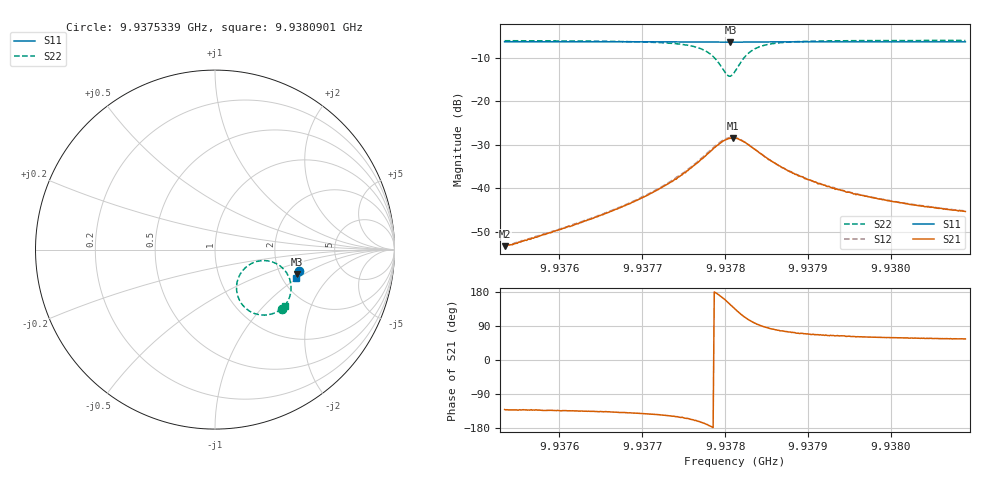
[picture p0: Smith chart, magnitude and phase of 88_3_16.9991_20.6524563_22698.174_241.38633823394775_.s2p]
#  HZ  S  RI  R  50.00
! Rohde & Schwarz Vector Network Analyzer
! Rohde-Schwarz,ZNB20-2Port,1311601062101988,3.16
! Created: UTC 3/20/2024, 10:56:01 PM
! freq[Hz]  re:S11  im:S11  re:S21  im:S21  re:S12  im:S12  re:S22  im:S22
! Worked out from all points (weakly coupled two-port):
!   401 points, 9.9375339 GHz to 9.9380901 GHz, reference 50 ohm
!   highest |S21| = -28.45 dB at 9.9378092 GHz (marker M1); lowest = -53.4 dB at 9.9375339 GHz (marker M2)
!   lowest |S11| = -6.4 dB at 9.9378064 GHz (marker M3), VSWR 2.82, Z = 123 - j43.7 ohm
!   |S11| at or under -10 dB: nowhere
!   |S22| runs from -14.3 to -6.0 dB; largest |S21 - S12| = 0.0021
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9.93753387e9  0.467 -0.1216  -0.0014 -0.00163  -0.00144 -0.0016  0.371 -0.3287
9.93762704e9  0.4646 -0.128  -0.00284 -0.00288  -0.00295 -0.00288  0.3529 -0.3419
9.93768267e9  0.4632 -0.1318  -0.00496 -0.00422  -0.00506 -0.00425  0.3319 -0.3527
9.93772021e9  0.462 -0.1345  -0.00794 -0.00571  -0.00823 -0.00562  0.3037 -0.3618
9.93774386e9  0.461 -0.1361  -0.0117 -0.00662  -0.0121 -0.00657  0.2707 -0.365
9.93777306e9  0.459 -0.1381  -0.0213 -0.00541  -0.0222 -0.005  0.1916 -0.3419
9.93778418e9  0.458 -0.1386  -0.0274 -0.00159  -0.0284 -0.000769  0.148 -0.3013
9.93779392e9  0.4571 -0.1385  -0.0322 0.00599  -0.0329 0.00748  0.1212 -0.2319
9.93780226e9  0.4566 -0.1378  -0.0328 0.0161  -0.033 0.0176  0.1329 -0.1514
9.93780643e9  0.4565 -0.1373  -0.031 0.021  -0.0306 0.023  0.1575 -0.1129
9.93780922e9  0.4567 -0.1373  -0.0291 0.0242  -0.0283 0.026  0.1799 -0.0922
9.937812e9  0.4569 -0.137  -0.0263 0.0266  -0.0253 0.0284  0.2054 -0.0764
9.93781895e9  0.4576 -0.1368  -0.0184 0.0305  -0.0173 0.0317  0.2737 -0.0611
9.9378259e9  0.4582 -0.137  -0.011 0.0307  -0.00997 0.0312  0.3313 -0.0733
9.93783286e9  0.4587 -0.1375  -0.0054 0.0289  -0.00439 0.0291  0.3714 -0.0982
9.9378412e9  0.4592 -0.1384  -0.00112 0.0255  -0.000105 0.0257  0.3998 -0.1309
9.93785511e9  0.4594 -0.1398  0.00274 0.0205  0.00318 0.0205  0.4193 -0.176
9.93787597e9  0.4593 -0.1417  0.00436 0.0152  0.00474 0.0152  0.4238 -0.2203
9.93790517e9  0.4586 -0.1441  0.00464 0.0112  0.00475 0.0111  0.4183 -0.2544
9.93795662e9  0.4573 -0.1478  0.00406 0.00757  0.00427 0.00755  0.407 -0.284
9.93799834e9  0.4563 -0.1508  0.00367 0.00613  0.00381 0.00614  0.3996 -0.2967
9.93809013e9  0.4539 -0.1567  0.00304 0.00445  0.00317 0.00444  0.3878 -0.3137
